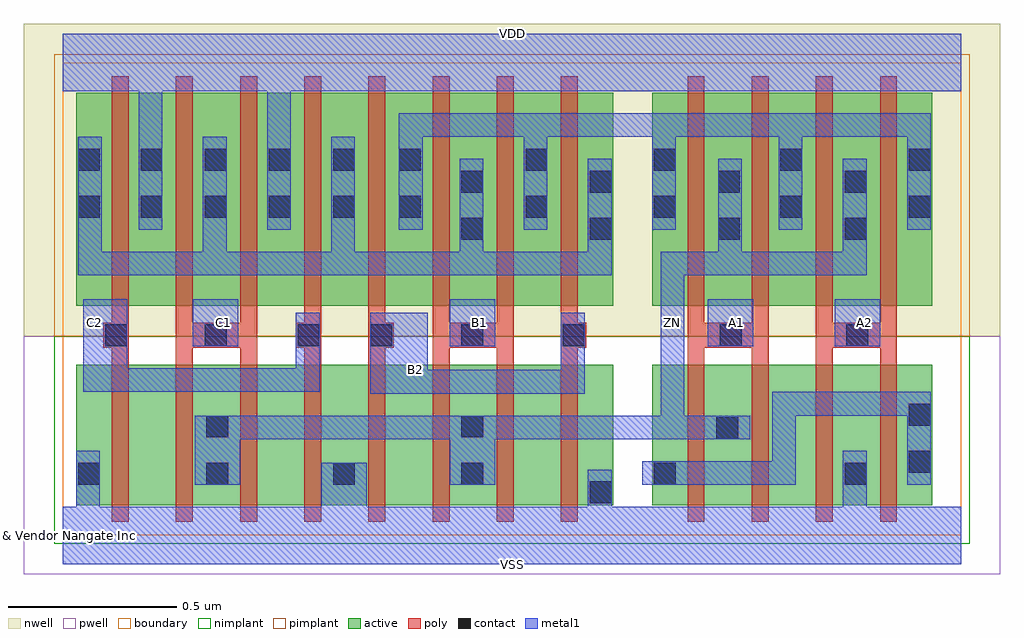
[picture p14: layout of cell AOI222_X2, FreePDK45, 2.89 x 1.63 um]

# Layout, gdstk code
import gdstk
lib = gdstk.Library(unit=1e-6, precision=1e-10)
def R(c, l, rs):  # rectangles x0, y0, x1, y1
    for r in rs: c.add(gdstk.rectangle(r[:2], r[2:], *l))
def A(c, l, x, y, w, h, nx, ny, dx, dy):  # array of equal rectangles
    R(c, l, [(x+i*dx, y+j*dy, x+i*dx+w, y+j*dy+h) for i in range(nx) for j in range(ny)])
def P(c, l, *ps):  # polygons
    for p in ps: c.add(gdstk.Polygon(p, *l))
active = (1, 0)
pwell = (2, 0)
nwell = (3, 0)
nimplant = (4, 0)
pimplant = (5, 0)
poly = (9, 0)
contact = (10, 0)
metal1 = (11, 0)
boundary = (235, 0)

aoi222_x2 = lib.new_cell('AOI222_X2')
R(aoi222_x2, active, [(0.04,0.09,1.63,0.505), (1.745,0.09,2.575,0.505), (0.04,0.68,1.63,1.31), (1.745,0.68,2.575,1.31)])
R(aoi222_x2, pwell, [(-0.115,-0.115,2.775,0.59)])
R(aoi222_x2, nwell, [(-0.115,0.59,2.775,1.515)])
R(aoi222_x2, nimplant, [(-0.025,-0.025,2.685,0.59)])
R(aoi222_x2, pimplant, [(-0.025,0.59,2.685,1.425)])
P(aoi222_x2, poly, [(0.145,0.04),(0.145,0.555),(0.12,0.555),(0.12,0.63),(0.145,0.63),(0.145,1.36),(0.195,1.36),(0.195,0.04)],
  [(0.335,0.04),(0.335,1.36),(0.385,1.36),(0.385,0.63),(0.525,0.63),(0.525,1.36),(0.575,1.36),(0.575,0.04),(0.525,0.04),(0.525,0.555),(0.385,0.555),(0.385,0.04)],
  [(0.715,0.04),(0.715,0.555),(0.69,0.555),(0.69,0.63),(0.715,0.63),(0.715,1.36),(0.765,1.36),(0.765,0.04)],
  [(0.905,0.04),(0.905,1.36),(0.955,1.36),(0.955,0.63),(0.98,0.63),(0.98,0.555),(0.955,0.555),(0.955,0.04)],
  [(1.095,0.04),(1.095,1.36),(1.145,1.36),(1.145,0.63),(1.285,0.63),(1.285,1.36),(1.335,1.36),(1.335,0.04),(1.285,0.04),(1.285,0.555),(1.145,0.555),(1.145,0.04)],
  [(1.475,0.04),(1.475,1.36),(1.525,1.36),(1.525,0.63),(1.55,0.63),(1.55,0.555),(1.525,0.555),(1.525,0.04)],
  [(1.85,0.04),(1.85,1.36),(1.9,1.36),(1.9,0.63),(2.04,0.63),(2.04,1.36),(2.09,1.36),(2.09,0.04),(2.04,0.04),(2.04,0.555),(1.9,0.555),(1.9,0.04)],
  [(2.23,0.04),(2.23,1.36),(2.28,1.36),(2.28,0.63),(2.42,0.63),(2.42,1.36),(2.47,1.36),(2.47,0.04),(2.42,0.04),(2.42,0.555),(2.28,0.555),(2.28,0.04)])
A(aoi222_x2, contact, 1.18, 0.875, 0.065, 0.065, 3, 2, 0.38, 0.14)
A(aoi222_x2, contact, 0.23, 0.94, 0.065, 0.065, 4, 2, 0.19, 0.14)
R(aoi222_x2, contact, [(1.56,0.095,1.625,0.16), (0.045,0.15,0.11,0.215), (0.425,0.15,0.49,0.215), (0.8,0.15,0.865,0.215), (1.18,0.15,1.245,0.215), (1.75,0.15,1.815,0.215), (2.315,0.15,2.38,0.215), (2.505,0.185,2.57,0.25), (1.935,0.285,2,0.35), (0.425,0.29,0.49,0.355), (1.18,0.29,1.245,0.355), (2.505,0.325,2.57,0.39), (0.125,0.56,0.19,0.625), (0.42,0.56,0.485,0.625), (0.695,0.56,0.76,0.625), (0.91,0.56,0.975,0.625), (1.18,0.56,1.245,0.625), (1.48,0.56,1.545,0.625), (1.945,0.56,2.01,0.625), (2.32,0.56,2.385,0.625), (2.315,0.875,2.38,0.94), (0.045,0.94,0.11,1.005), (0.995,0.94,1.06,1.005), (1.37,0.94,1.435,1.005), (1.75,0.94,1.815,1.005), (2.125,0.94,2.19,1.005), (2.505,0.94,2.57,1.005), (2.315,1.015,2.38,1.08), (0.045,1.08,0.11,1.145), (0.995,1.08,1.06,1.145), (1.37,1.08,1.435,1.145), (1.75,1.08,1.815,1.145), (2.125,1.08,2.19,1.145), (2.505,1.08,2.57,1.145)])
R(aoi222_x2, metal1, [(0.385,0.56,0.52,0.7), (1.145,0.56,1.28,0.7), (1.91,0.56,2.045,0.7), (2.285,0.56,2.42,0.7)])
P(aoi222_x2, metal1, [(0.06,0.425),(0.06,0.7),(0.19,0.7),(0.19,0.495),(0.69,0.495),(0.69,0.66),(0.76,0.66),(0.76,0.425)],
  [(0.91,0.42),(0.91,0.66),(1.08,0.66),(1.08,0.49),(1.475,0.49),(1.475,0.66),(1.545,0.66),(1.545,0.42)],
  [(0.045,0.77),(0.045,1.18),(0.115,1.18),(0.115,0.84),(0.415,0.84),(0.415,1.18),(0.485,1.18),(0.485,0.84),(0.795,0.84),(0.795,1.18),(0.865,1.18),(0.865,0.84),(1.175,0.84),(1.175,1.115),(1.245,1.115),(1.245,0.84),(1.555,0.84),(1.555,1.115),(1.625,1.115),(1.625,0.77)],
  [(0.39,0.15),(0.39,0.355),(1.77,0.355),(1.77,0.84),(1.94,0.84),(1.94,1.115),(2.01,1.115),(2.01,0.84),(2.31,0.84),(2.31,1.115),(2.38,1.115),(2.38,0.77),(1.84,0.77),(1.84,0.355),(2.035,0.355),(2.035,0.285),(1.28,0.285),(1.28,0.15),(1.145,0.15),(1.145,0.285),(0.525,0.285),(0.525,0.15)],
  [(1.715,0.15),(1.715,0.22),(2.1,0.22),(2.1,0.425),(2.57,0.425),(2.57,0.15),(2.5,0.15),(2.5,0.355),(2.17,0.355),(2.17,0.15)],
  [(0.995,0.905),(0.995,1.25),(2.57,1.25),(2.57,0.905),(2.5,0.905),(2.5,1.18),(2.19,1.18),(2.19,0.905),(2.12,0.905),(2.12,1.18),(1.815,1.18),(1.815,0.905),(1.745,0.905),(1.745,1.18),(1.435,1.18),(1.435,0.905),(1.365,0.905),(1.365,1.18),(1.065,1.18),(1.065,0.905)],
  [(0,-0.085),(0,0.085),(0.04,0.085),(0.04,0.25),(0.11,0.25),(0.11,0.085),(0.765,0.085),(0.765,0.215),(0.9,0.215),(0.9,0.085),(1.555,0.085),(1.555,0.195),(1.625,0.195),(1.625,0.085),(2.31,0.085),(2.31,0.25),(2.38,0.25),(2.38,0.085),(2.66,0.085),(2.66,-0.085)],
  [(0.225,0.905),(0.225,1.315),(0,1.315),(0,1.485),(2.66,1.485),(2.66,1.315),(0.675,1.315),(0.675,0.905),(0.605,0.905),(0.605,1.315),(0.295,1.315),(0.295,0.905)])
R(aoi222_x2, boundary, [(0,0,2.66,1.4)])
aoi222_x2.add(gdstk.Label('A1', (1.995,0.63), layer=11, texttype=0))
aoi222_x2.add(gdstk.Label('A2', (2.375,0.63), layer=11, texttype=0))
aoi222_x2.add(gdstk.Label('B1', (1.235,0.63), layer=11, texttype=0))
aoi222_x2.add(gdstk.Label('B2', (1.045,0.49), layer=11, texttype=0))
aoi222_x2.add(gdstk.Label('C1', (0.475,0.63), layer=11, texttype=0))
aoi222_x2.add(gdstk.Label('C2', (0.095,0.63), layer=11, texttype=0))
aoi222_x2.add(gdstk.Label('VDD', (1.33,1.485), layer=11, texttype=0))
aoi222_x2.add(gdstk.Label('VSS', (1.33,-0.085), layer=11, texttype=0))
aoi222_x2.add(gdstk.Label('ZN', (1.805,0.63), layer=11, texttype=0))
aoi222_x2.add(gdstk.Label('& Vendor Nangate Inc', (0,0), layer=63, texttype=63))
aoi222_x2.add(gdstk.Label('& Product Open Cell Library', (0,0), layer=63, texttype=63))
aoi222_x2.add(gdstk.Label('& Version 2010_12', (0,0), layer=63, texttype=63))
aoi222_x2.add(gdstk.Label('& Instance AOI222_X2', (0,0), layer=63, texttype=63))

lib.write_gds('AOI222_X2.gds')
